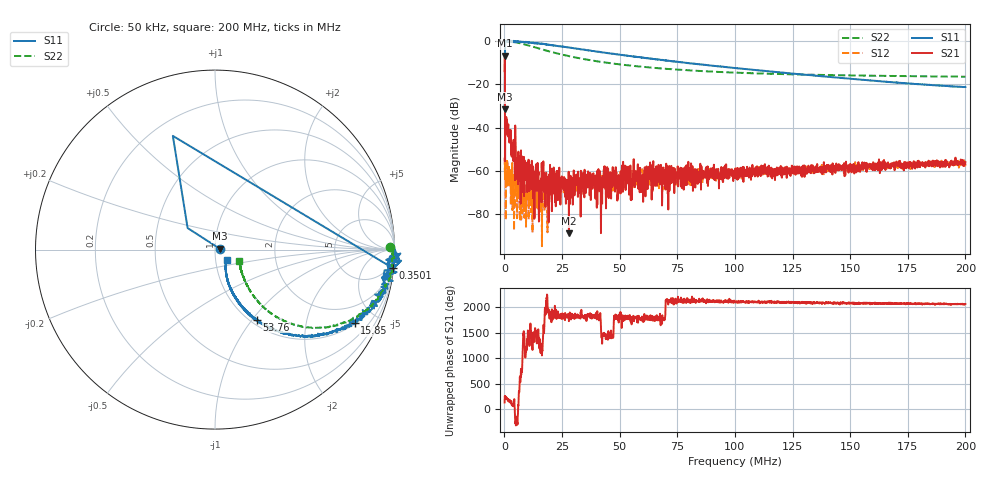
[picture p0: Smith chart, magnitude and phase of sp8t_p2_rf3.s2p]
! 26-Feb-26 11:32:42 AM
! E:\VNA_MEASUREMENTS\SP8T\SP8T_P2_RF3.S2P
! CHANNEL.1
! TR.MEASUREMENT
! CORRECTED.DATA
# GHZ S RI R 50.0
! FREQ.GHZ  S11RE  S11IM  S21RE  S21IM  S12RE  S12IM  S22RE  S22IM
!; PortSelection: Port_12
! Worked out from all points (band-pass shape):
!   2000 points, 50 kHz to 200 MHz, reference 50 ohm
!   highest |S21| = -6.73 dB at 150 kHz (marker M1); lowest = -88.9 dB at 27.96 MHz (marker M2)
!   |S21| within 3 dB of the highest: 108 kHz to 156.2 kHz (48.15 kHz wide, 36.5 % of centre)
!   lowest |S11| = -31.4 dB at 50 kHz (marker M3), VSWR 1.06, Z = 52.7 + j0.512 ohm
!   |S11| at or under -10 dB: start of sweep to 189.2 kHz; 78.55 MHz to 78.95 MHz (396 kHz wide, 0.503 % of centre); 78.99 MHz to end of sweep
!   |S22| runs from -16.5 to 0.1 dB; largest |S21 - S12| = 0.46
!   S11 on the Smith chart (normalised r, x): 50 kHz: 1.05, +0.01; 350.1 kHz: 0, -19; 15.85 MHz: 1.04, -3.77; 53.76 MHz: 1.07, -1.06; 200 MHz: 1.13, -0.13
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5e-05  0.0264 0.00485  -0.1509 0.135  0.00166 0.00119  0.9723 0.0128
0.000150025  -0.1525 0.1201  -0.0356 -0.4594  -0.00115 2.32e-05  0.9941 -0.0132
0.000350075  0.9923 -0.1039  -0.00445 -0.0126  0.000761 -0.000686  0.9957 -0.0255
0.0012503  0.9536 -0.0575  -0.00792 -0.00207  -0.00151 -0.00089  0.9912 -0.0888
0.006051501  0.9657 -0.1936  0.000623 0.00272  0.000374 -0.00021  0.8555 -0.3237
0.01375343  0.8263 -0.3754  -0.000262 0.00103  9.06e-05 0.000235  0.5566 -0.4354
0.01585395  0.7772 -0.4102  0.000277 0.000223  0.000153 0.000211  0.4957 -0.4306
0.02795698  0.5264 -0.4814  1.29e-05 -3.35e-05  0.000447 0.000389  0.293 -0.342
0.03345835  0.4361 -0.4767  0.00031 0.000326  0.000409 0.000331  0.2527 -0.3029
0.04766191  0.2796 -0.4224  0.000542 -6.6e-06  0.000629 3.34e-05  0.1956 -0.23
0.04966241  0.262 -0.4154  0.000615 0.000198  0.000547 -0.0001  0.1909 -0.2215
0.05146286  0.2487 -0.4041  0.000935 -0.00132  0.000546 -5.02e-05  0.187 -0.215
0.05376343  0.2346 -0.3898  0.000487 0.000391  0.000723 3.15e-05  0.1824 -0.2063
0.05476368  0.2274 -0.3921  2.86e-05 -0.000215  0.000744 -0.000189  0.1805 -0.2037
0.05686421  0.2141 -0.3796  0.000681 7.63e-05  0.000712 -0.000187  0.1773 -0.1966
0.05966491  0.1995 -0.3707  0.000604 0.000249  0.000651 -0.00029  0.1734 -0.1889
0.06266566  0.1851 -0.3518  0.000815 -2.64e-05  0.000846 -0.000106  0.1692 -0.1806
0.06676668  0.1673 -0.3392  0.000922 -8.99e-05  0.000576 -0.000276  0.1652 -0.1705
0.100075  0.0894 -0.2228  0.000548 -0.000706  0.000536 -0.00069  0.1469 -0.1169
0.1333833  0.0646 -0.1489  0.000592 -0.001  0.00056 -0.000961  0.1404 -0.091
0.1666917  0.0598 -0.0967  0.00036 -0.00119  0.000176 -0.00121  0.1379 -0.0756
0.2  0.0645 -0.0589  -6.47e-05 -0.0016  -0.000158 -0.00146  0.1361 -0.0643
